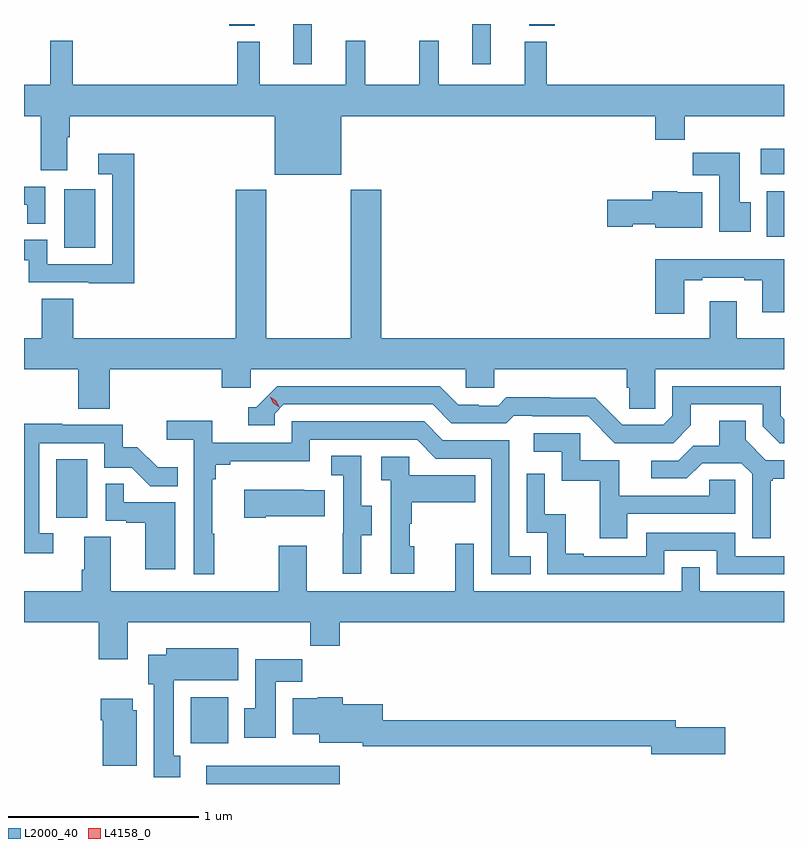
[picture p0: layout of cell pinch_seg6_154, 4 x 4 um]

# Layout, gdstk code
import gdstk
lib = gdstk.Library(unit=1e-6, precision=1e-09)
def R(c, l, rs):  # rectangles x0, y0, x1, y1
    for r in rs: c.add(gdstk.rectangle(r[:2], r[2:], *l))
def P(c, l, *ps):  # polygons
    for p in ps: c.add(gdstk.Polygon(p, *l))
L2000_40 = (2000, 40)
L4158_0 = (4158, 0)

pinch_seg6_154 = lib.new_cell('pinch_seg6_154')
R(pinch_seg6_154, L2000_40, [(997.499,927.837,998.204,927.934), (997.418,928.052,997.615,928.294), (996.71,929.238,996.874,929.545), (996.752,930.66,996.916,930.967), (1000.451,930.716,1000.541,930.958), (1000.419,931.046,1000.541,931.18), (997.959,931.626,998.056,931.837), (998.9,931.626,998.997,931.837), (997.622,931.829,997.756,931.837), (999.2,931.829,999.335,931.837)])
P(pinch_seg6_154, L2000_40, [(998.212,931.352),(999.863,931.352),(999.863,931.228),(1000.019,931.228),(1000.019,931.352),(1000.541,931.352),(1000.541,931.516),(999.293,931.516),(999.293,931.744),(999.176,931.744),(999.176,931.516),(998.723,931.516),(998.723,931.75),(998.62,931.75),(998.62,931.516),(998.336,931.516),(998.336,931.75),(998.234,931.75),(998.234,931.516),(997.781,931.516),(997.781,931.744),(997.663,931.744),(997.663,931.516),(996.797,931.516),(996.797,931.75),(996.68,931.75),(996.68,931.516),(996.541,931.516),(996.541,931.352),(996.629,931.352),(996.629,931.066),(996.769,931.066),(996.769,931.24),(996.782,931.24),(996.782,931.352),(997.862,931.352),(997.862,931.043),(998.212,931.043)],
  [(1000.366,930.9),(1000.309,930.9),(1000.309,931.159),(1000.06,931.159),(1000.06,931.04),(1000.199,931.04),(1000.199,930.744),(1000.366,930.744)],
  [(997.121,931.153),(996.933,931.153),(996.933,931.047),(997.005,931.047),(997.005,930.573),(996.663,930.573),(996.663,930.702),(996.541,930.702),(996.541,930.594),(996.565,930.594),(996.565,930.477),(996.883,930.477),(996.883,930.472),(997.121,930.472)],
  [(996.654,930.981),(996.541,930.981),(996.541,930.885),(996.559,930.885),(996.559,930.787),(996.654,930.787)],
  [(998.865,929.922),(999.015,929.922),(999.015,930.02),(999.713,930.02),(999.713,929.922),(999.727,929.922),(999.727,929.812),(999.864,929.812),(999.864,930.02),(1000.541,930.02),(1000.541,930.184),(1000.291,930.184),(1000.291,930.379),(1000.151,930.379),(1000.151,930.184),(998.42,930.184),(998.42,930.964),(998.26,930.964),(998.26,930.184),(997.815,930.184),(997.815,930.964),(997.655,930.964),(997.655,930.184),(996.8,930.184),(996.8,930.392),(996.635,930.392),(996.635,930.184),(996.541,930.184),(996.541,930.02),(996.827,930.02),(996.827,929.812),(996.992,929.812),(996.992,930.02),(997.583,930.02),(997.583,929.922),(997.734,929.922),(997.734,930.02),(998.865,930.02)],
  [(1000.111,930.952),(999.978,930.952),(999.978,930.958),(999.848,930.958),(999.848,930.912),(999.612,930.912),(999.612,930.77),(999.744,930.77),(999.744,930.782),(999.864,930.782),(999.864,930.764),(1000.111,930.764)],
  [(1000.015,930.489),(1000.111,930.489),(1000.111,930.501),(1000.331,930.501),(1000.331,930.489),(1000.427,930.489),(1000.427,930.32),(1000.541,930.32),(1000.541,930.598),(999.863,930.598),(999.863,930.312),(1000.015,930.312)],
  [(1000.051,929.725),(1000.051,929.835),(1000.428,929.835),(1000.428,929.721),(1000.518,929.631),(1000.541,929.631),(1000.541,929.758),(1000.524,929.775),(1000.524,929.931),(999.954,929.931),(999.954,929.775),(999.906,929.727),(999.69,929.727),(999.548,929.869),(999.312,929.869),(999.312,929.872),(999.079,929.872),(999.037,929.829),(998.934,929.829),(998.934,929.832),(998.827,929.832),(998.728,929.931),(997.875,929.931),(997.764,929.82),(997.721,929.82),(997.721,929.724),(997.86,929.724),(997.86,929.787),(997.908,929.835),(998.691,929.835),(998.79,929.736),(999.079,929.736),(999.118,929.775),(999.217,929.775),(999.217,929.772),(999.51,929.772),(999.651,929.631),(999.957,929.631)],
  [(997.543,929.153),(997.531,929.153),(997.531,929.441),(997.55,929.441),(997.55,929.518),(997.627,929.518),(997.627,929.537),(998.046,929.537),(998.046,929.649),(998.61,929.649),(998.709,929.55),(999,929.55),(999,928.941),(999.209,928.941),(999.209,929.037),(999.096,929.037),(999.096,929.646),(998.746,929.646),(998.647,929.745),(997.95,929.745),(997.95,929.634),(997.532,929.634),(997.532,929.75),(997.293,929.75),(997.293,929.648),(997.434,929.648),(997.434,928.941),(997.543,928.941)],
  [(1000.471,929.433),(1000.483,929.433),(1000.483,929.444),(1000.541,929.444),(1000.541,929.541),(1000.446,929.541),(1000.339,929.648),(1000.339,929.75),(1000.199,929.75),(1000.199,929.618),(1000.064,929.618),(999.984,929.538),(999.843,929.538),(999.843,929.445),(1000.03,929.445),(1000.111,929.526),(1000.317,929.526),(1000.374,929.469),(1000.374,929.13),(1000.471,929.13)],
  [(996.694,929.157),(996.621,929.157),(996.621,929.631),(996.963,929.631),(996.963,929.502),(997.107,929.502),(997.205,929.404),(997.349,929.404),(997.349,929.503),(997.245,929.503),(997.138,929.61),(997.062,929.61),(997.062,929.727),(996.743,929.727),(996.743,929.732),(996.541,929.732),(996.541,929.052),(996.694,929.052)],
  [(999.715,929.259),(1000.284,929.259),(1000.284,929.439),(1000.147,929.439),(1000.147,929.355),(999.673,929.355),(999.673,929.541),(999.468,929.541),(999.468,929.682),(999.225,929.682),(999.225,929.586),(999.372,929.586),(999.372,929.433),(999.571,929.433),(999.571,929.13),(999.715,929.13)],
  [(998.317,929.146),(998.371,929.146),(998.371,929.301),(998.316,929.301),(998.316,929.564),(998.157,929.564),(998.157,929.461),(998.22,929.461),(998.22,929.157),(998.219,929.157),(998.219,928.944),(998.317,928.944)],
  [(998.596,929.088),(998.571,929.088),(998.571,929.207),(998.581,929.207),(998.581,929.321),(998.915,929.321),(998.915,929.461),(998.568,929.461),(998.568,929.559),(998.421,929.559),(998.421,929.435),(998.472,929.435),(998.472,928.944),(998.596,928.944)],
  [(999.912,929.064),(1000.188,929.064),(1000.188,928.941),(1000.541,928.941),(1000.541,929.037),(1000.284,929.037),(1000.284,929.16),(999.816,929.16),(999.816,929.037),(999.487,929.037),(999.487,929.05),(999.392,929.05),(999.392,929.258),(999.282,929.258),(999.282,929.47),(999.186,929.47),(999.186,929.16),(999.294,929.16),(999.294,928.941),(999.912,928.941)],
  [(997.336,929.319),(997.067,929.319),(997.067,929.417),(996.972,929.417),(996.972,929.223),(997.079,929.223),(997.079,929.211),(997.178,929.211),(997.178,928.968),(997.336,928.968)],
  [(997.813,929.246),(998.123,929.246),(998.123,929.383),(998.015,929.383),(998.015,929.386),(997.701,929.386),(997.701,929.239),(997.813,929.239)],
  [(997.087,928.688),(998.047,928.688),(998.047,928.564),(998.204,928.564),(998.204,928.688),(1000.541,928.688),(1000.541,928.852),(1000.098,928.852),(1000.098,928.979),(1000.002,928.979),(1000.002,928.852),(998.907,928.852),(998.907,929.101),(998.81,929.101),(998.81,928.852),(998.029,928.852),(998.029,929.092),(997.882,929.092),(997.882,928.852),(996.997,928.852),(996.997,929.138),(996.857,929.138),(996.857,928.964),(996.845,928.964),(996.845,928.852),(996.541,928.852),(996.541,928.688),(996.935,928.688),(996.935,928.494),(997.087,928.494)],
  [(997.363,927.986),(997.33,927.986),(997.33,928.382),(997.669,928.382),(997.669,928.552),(997.289,928.552),(997.289,928.516),(997.196,928.516),(997.196,928.362),(997.223,928.362),(997.223,927.873),(997.363,927.873)],
  [(997.867,928.376),(998.006,928.376),(998.006,928.494),(997.757,928.494),(997.757,928.236),(997.7,928.236),(997.7,928.08),(997.867,928.08)],
  [(1000.231,928.136),(999.97,928.136),(999.97,928.172),(998.428,928.172),(998.428,928.258),(998.219,928.258),(998.219,928.294),(998.088,928.294),(998.088,928.288),(997.955,928.288),(997.955,928.1),(998.096,928.1),(998.096,928.055),(998.324,928.055),(998.324,928.036),(999.842,928.036),(999.842,927.994),(1000.231,927.994)],
  [(997.135,928.224),(997.114,928.224),(997.114,928.285),(996.944,928.285),(996.944,928.172),(996.956,928.172),(996.956,927.932),(997.135,927.932)])
P(pinch_seg6_154, L4158_0, [(997.884,929.821),(997.853,929.841),(997.838,929.874),(997.838,929.874),(997.838,929.874),(997.868,929.854),(997.884,929.822),(997.884,929.821)])

lib.write_gds('pinch_seg6_154.gds')
